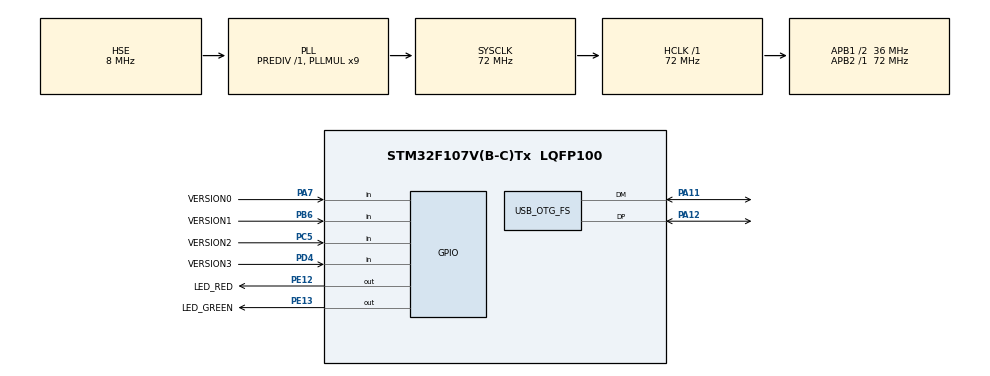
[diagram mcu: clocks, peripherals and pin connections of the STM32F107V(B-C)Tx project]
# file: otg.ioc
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FATFS._CODE_PAGE=437
FATFS._USE_LFN=2
Mcu.Family=STM32F1
Mcu.Name=STM32F107V(B-C)Tx
Mcu.Package=LQFP100
NVIC.OTG_FS_IRQn=true\:0\:0\:false\:false\:true\:false
NVIC.PriorityGroup=NVIC_PRIORITYGROUP_4
OSC_IN.Mode=HSE-External-Oscillator
OSC_IN.Signal=RCC_OSC_IN
OSC_OUT.Mode=HSE-External-Oscillator
OSC_OUT.Signal=RCC_OSC_OUT
PA11.Mode=Host_Only
PA11.Signal=USB_OTG_FS_DM
PA12.Mode=Host_Only
PA12.Signal=USB_OTG_FS_DP
PA7.GPIO_Label=VERSION0
PA7.Signal=GPIO_Input
PA7.Stacked=true
PB6.GPIO_Label=VERSION1
PB6.Signal=GPIO_Input
PC14-OSC32_IN.Mode=LSE-External-Oscillator
PC14-OSC32_IN.Signal=RCC_OSC32_IN
PC15-OSC32_OUT.Mode=LSE-External-Oscillator
PC15-OSC32_OUT.Signal=RCC_OSC32_OUT
PC5.GPIO_Label=VERSION2
PC5.Signal=GPIO_Input
PD4.GPIO_Label=VERSION3
PD4.Signal=GPIO_Input
PE12.GPIO_Label=LED_RED
PE12.Signal=GPIO_Output
PE13.GPIO_Label=LED_GREEN
PE13.Signal=GPIO_Output
ProjectManager.HeapSize=0x2000
ProjectManager.StackSize=0x2000
ProjectManager.TargetToolchain=MDK-ARM V5
RCC.ADCPresc=RCC_ADCPCLK2_DIV6
RCC.AHBFreq_Value=72000000
RCC.APB1CLKDivider=RCC_HCLK_DIV2
RCC.APB1Freq_Value=36000000
RCC.APB1TimFreq_Value=72000000
RCC.APB2Freq_Value=72000000
RCC.APB2TimFreq_Value=72000000
RCC.HCLKFreq_Value=72000000
RCC.PLL2Mul=RCC_PLL2_MUL9
RCC.PLLMUL=RCC_PLL_MUL9
RCC.PLLSourceVirtual=RCC_PLLSOURCE_HSE
RCC.RTCClockSelection=RCC_RTCCLKSOURCE_LSE
RCC.SYSCLKFreq_VALUE=72000000
RCC.SYSCLKSource=RCC_SYSCLKSOURCE_PLLCLK
RCC.USBFreq_Value=48000000
USB_HOST.USBH_HandleTypeDef=hUsbHostFS
USB_HOST.VirtualModeFS=Msc
USB_OTG_FS.VirtualMode=Host_Only
VP_FATFS_VS_USB.Mode=USB
VP_RTC_VS_RTC_Activate.Mode=RTC_Enabled
VP_SYS_VS_ND.Mode=No_Debug
VP_USB_HOST_VS_USB_HOST_MSC_FS.Mode=MSC_FS
board=custom

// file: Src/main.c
/**
  ******************************************************************************
  * @file           : main.c
  * @brief          : Main program body
  ******************************************************************************
  * This notice applies to any and all portions of this file
  * that are not between comment pairs USER CODE BEGIN and
  * USER CODE END. Other portions of this file, whether
  * inserted by the user or by software development tools
  * are owned by their respective copyright owners.
  *
  * Copyright (c) 2018 STMicroelectronics International N.V.
  * All rights reserved.
  *
  * Redistribution and use in source and binary forms, with or without
  * modification, are permitted, provided that the following conditions are met:
  *
  * 1. Redistribution of source code must retain the above copyright notice,
  *    this list of conditions and the following disclaimer.
  * 2. Redistributions in binary form must reproduce the above copyright notice,
  *    this list of conditions and the following disclaimer in the documentation
  *    and/or other materials provided with the distribution.
  * 3. Neither the name of STMicroelectronics nor the names of other
  *    contributors to this software may be used to endorse or promote products
  *    derived from this software without specific written permission.
  * 4. This software, including modifications and/or derivative works of this
  *    software, must execute solely and exclusively on microcontroller or
  *    microprocessor devices manufactured by or for STMicroelectronics.
  * 5. Redistribution and use of this software other than as permitted under
  *    this license is void and will automatically terminate your rights under
  *    this license.
  *
  * THIS SOFTWARE IS PROVIDED BY STMICROELECTRONICS AND CONTRIBUTORS "AS IS"
  * AND ANY EXPRESS, IMPLIED OR STATUTORY WARRANTIES, INCLUDING, BUT NOT
  * LIMITED TO, THE IMPLIED WARRANTIES OF MERCHANTABILITY, FITNESS FOR A
  * PARTICULAR PURPOSE AND NON-INFRINGEMENT OF THIRD PARTY INTELLECTUAL PROPERTY
  * RIGHTS ARE DISCLAIMED TO THE FULLEST EXTENT PERMITTED BY LAW. IN NO EVENT
  * SHALL STMICROELECTRONICS OR CONTRIBUTORS BE LIABLE FOR ANY DIRECT, INDIRECT,
  * INCIDENTAL, SPECIAL, EXEMPLARY, OR CONSEQUENTIAL DAMAGES (INCLUDING, BUT NOT
  * LIMITED TO, PROCUREMENT OF SUBSTITUTE GOODS OR SERVICES; LOSS OF USE, DATA,
  * OR PROFITS; OR BUSINESS INTERRUPTION) HOWEVER CAUSED AND ON ANY THEORY OF
  * LIABILITY, WHETHER IN CONTRACT, STRICT LIABILITY, OR TORT (INCLUDING
  * NEGLIGENCE OR OTHERWISE) ARISING IN ANY WAY OUT OF THE USE OF THIS SOFTWARE,
  * EVEN IF ADVISED OF THE POSSIBILITY OF SUCH DAMAGE.
  *
  ******************************************************************************
  */
#include "main.h"
#include "stm32f1xx_hal.h"
#include "fatfs.h"
#include "usb_host.h"

/* USER CODE BEGIN Includes */
#include <stdint.h>
#include "evse_dfu.h"
/* USER CODE END Includes */

RTC_HandleTypeDef hrtc;

/* USER CODE BEGIN PV */
/* Private variables ---------------------------------------------------------*/
#define DEF_APP_ADDR  0x0800A000
#define DEF_BL_ADDR 0x08000000

static FATFS USBH_fatfs;
static uint32_t gap = 0xfffff;
/* USER CODE END PV */

void SystemClock_Config(void);
static void MX_GPIO_Init(void);
static void MX_RTC_Init(void);
void MX_USB_HOST_Process(void);

/* USER CODE BEGIN PFP */
/* Private function prototypes -----------------------------------------------*/

/* USER CODE END PFP */

/* USER CODE BEGIN 0 */

static uint8_t go_to(uint32_t myfunc)
{
	uint8_t ret = 0;
	void(*ptr)(void);
	if((*(volatile uint32_t *)myfunc & 0x2ffe0000) == 0x20000000)
	{

		__set_MSP((*(volatile uint32_t *)myfunc));
		ptr = (void(*)(void))(*(__IO uint32_t*)(myfunc+4));

		ptr();
	}
	return ret;
}

/* USER CODE END 0 */

int main(void)
{
  /* USER CODE BEGIN 1 */
  struct head *app_head = (struct head *)APP_HEAD_ADDR ;

  /* USER CODE END 1 */

  /* MCU Configuration----------------------------------------------------------*/

  /* Reset of all peripherals, Initializes the Flash interface and the Systick. */
  HAL_Init();

  /* Configure the system clock */
  SystemClock_Config();

  /* Initialize all configured peripherals */
  MX_GPIO_Init();
  MX_FATFS_Init();
  MX_USB_HOST_Init();
  MX_RTC_Init();
  /* USER CODE BEGIN 2 */

  if(f_mount(&USBH_fatfs, "", 0) != FR_OK)
  {

  }

  /* USER CODE END 2 */

  /* Infinite loop */
  /* USER CODE BEGIN WHILE */
  while (gap --)
  {

  /* USER CODE END WHILE */
    MX_USB_HOST_Process();

  /* USER CODE BEGIN 3 */
		if(gap % 1000 == 0){
			if(usb_upgrade_proc()){
				while(1);
			}
		}
  }
	__disable_irq();

  	if(app_head->magic == 'W' && app_head->type == APP){
		go_to(app_head->addr);
	}
	else{
		go_to(DEF_APP_ADDR);
	}
  /* USER CODE END 3 */

}

void SystemClock_Config(void)
{

  RCC_OscInitTypeDef RCC_OscInitStruct;
  RCC_ClkInitTypeDef RCC_ClkInitStruct;
  RCC_PeriphCLKInitTypeDef PeriphClkInit;

    /**Initializes the CPU, AHB and APB busses clocks
    */
  RCC_OscInitStruct.OscillatorType = RCC_OSCILLATORTYPE_HSE|RCC_OSCILLATORTYPE_LSE;
  RCC_OscInitStruct.HSEState = RCC_HSE_ON;
  RCC_OscInitStruct.HSEPredivValue = RCC_HSE_PREDIV_DIV1;
  RCC_OscInitStruct.LSEState = RCC_LSE_ON;
  RCC_OscInitStruct.HSIState = RCC_HSI_ON;
  RCC_OscInitStruct.Prediv1Source = RCC_PREDIV1_SOURCE_HSE;
  RCC_OscInitStruct.PLL.PLLState = RCC_PLL_ON;
  RCC_OscInitStruct.PLL.PLLSource = RCC_PLLSOURCE_HSE;
  RCC_OscInitStruct.PLL.PLLMUL = RCC_PLL_MUL9;
  RCC_OscInitStruct.PLL2.PLL2State = RCC_PLL_NONE;
  if (HAL_RCC_OscConfig(&RCC_OscInitStruct) != HAL_OK)
  {
    _Error_Handler(__FILE__, __LINE__);
  }

    /**Initializes the CPU, AHB and APB busses clocks
    */
  RCC_ClkInitStruct.ClockType = RCC_CLOCKTYPE_HCLK|RCC_CLOCKTYPE_SYSCLK
                              |RCC_CLOCKTYPE_PCLK1|RCC_CLOCKTYPE_PCLK2;
  RCC_ClkInitStruct.SYSCLKSource = RCC_SYSCLKSOURCE_PLLCLK;
  RCC_ClkInitStruct.AHBCLKDivider = RCC_SYSCLK_DIV1;
  RCC_ClkInitStruct.APB1CLKDivider = RCC_HCLK_DIV2;
  RCC_ClkInitStruct.APB2CLKDivider = RCC_HCLK_DIV1;

  if (HAL_RCC_ClockConfig(&RCC_ClkInitStruct, FLASH_LATENCY_2) != HAL_OK)
  {
    _Error_Handler(__FILE__, __LINE__);
  }

  PeriphClkInit.PeriphClockSelection = RCC_PERIPHCLK_RTC|RCC_PERIPHCLK_USB;
  PeriphClkInit.RTCClockSelection = RCC_RTCCLKSOURCE_LSE;
  PeriphClkInit.UsbClockSelection = RCC_USBCLKSOURCE_PLL_DIV3;
  if (HAL_RCCEx_PeriphCLKConfig(&PeriphClkInit) != HAL_OK)
  {
    _Error_Handler(__FILE__, __LINE__);
  }

    /**Configure the Systick interrupt time
    */
  HAL_SYSTICK_Config(HAL_RCC_GetHCLKFreq()/1000);

    /**Configure the Systick
    */
  HAL_SYSTICK_CLKSourceConfig(SYSTICK_CLKSOURCE_HCLK);

    /**Configure the Systick interrupt time
    */
  __HAL_RCC_PLLI2S_ENABLE();

  /* SysTick_IRQn interrupt configuration */
  HAL_NVIC_SetPriority(SysTick_IRQn, 0, 0);
}

/* RTC init function */
static void MX_RTC_Init(void)
{

    /**Initialize RTC Only
    */
  hrtc.Instance = RTC;
  hrtc.Init.AsynchPrediv = RTC_AUTO_1_SECOND;
  hrtc.Init.OutPut = RTC_OUTPUTSOURCE_ALARM;
  if (HAL_RTC_Init(&hrtc) != HAL_OK)
  {
    _Error_Handler(__FILE__, __LINE__);
  }

}

/** Configure pins as
        * Analog
        * Input
        * Output
        * EVENT_OUT
        * EXTI
*/
static void MX_GPIO_Init(void)
{

  GPIO_InitTypeDef GPIO_InitStruct;

  /* GPIO Ports Clock Enable */
  __HAL_RCC_GPIOC_CLK_ENABLE();
  __HAL_RCC_GPIOA_CLK_ENABLE();
  __HAL_RCC_GPIOE_CLK_ENABLE();
  __HAL_RCC_GPIOD_CLK_ENABLE();
  __HAL_RCC_GPIOB_CLK_ENABLE();

  /*Configure GPIO pin Output Level */
  HAL_GPIO_WritePin(GPIOE, LED_RED_Pin|LED_GREEN_Pin, GPIO_PIN_RESET);

  /*Configure GPIO pin : VERSION0_Pin */
  GPIO_InitStruct.Pin = VERSION0_Pin;
  GPIO_InitStruct.Mode = GPIO_MODE_INPUT;
  GPIO_InitStruct.Pull = GPIO_NOPULL;
  HAL_GPIO_Init(VERSION0_GPIO_Port, &GPIO_InitStruct);

  /*Configure GPIO pin : VERSION2_Pin */
  GPIO_InitStruct.Pin = VERSION2_Pin;
  GPIO_InitStruct.Mode = GPIO_MODE_INPUT;
  GPIO_InitStruct.Pull = GPIO_NOPULL;
  HAL_GPIO_Init(VERSION2_GPIO_Port, &GPIO_InitStruct);

  /*Configure GPIO pins : LED_RED_Pin LED_GREEN_Pin */
  GPIO_InitStruct.Pin = LED_RED_Pin|LED_GREEN_Pin;
  GPIO_InitStruct.Mode = GPIO_MODE_OUTPUT_PP;
  GPIO_InitStruct.Pull = GPIO_NOPULL;
  GPIO_InitStruct.Speed = GPIO_SPEED_FREQ_LOW;
  HAL_GPIO_Init(GPIOE, &GPIO_InitStruct);

  /*Configure GPIO pin : VERSION3_Pin */
  GPIO_InitStruct.Pin = VERSION3_Pin;
  GPIO_InitStruct.Mode = GPIO_MODE_INPUT;
  GPIO_InitStruct.Pull = GPIO_NOPULL;
  HAL_GPIO_Init(VERSION3_GPIO_Port, &GPIO_InitStruct);

  /*Configure GPIO pin : VERSION1_Pin */
  GPIO_InitStruct.Pin = VERSION1_Pin;
  GPIO_InitStruct.Mode = GPIO_MODE_INPUT;
  GPIO_InitStruct.Pull = GPIO_NOPULL;
  HAL_GPIO_Init(VERSION1_GPIO_Port, &GPIO_InitStruct);

}

void _Error_Handler(char *file, int line)
{
  while(1)
  {
  }
}

/************************ (C) COPYRIGHT STMicroelectronics *****END OF FILE****/
